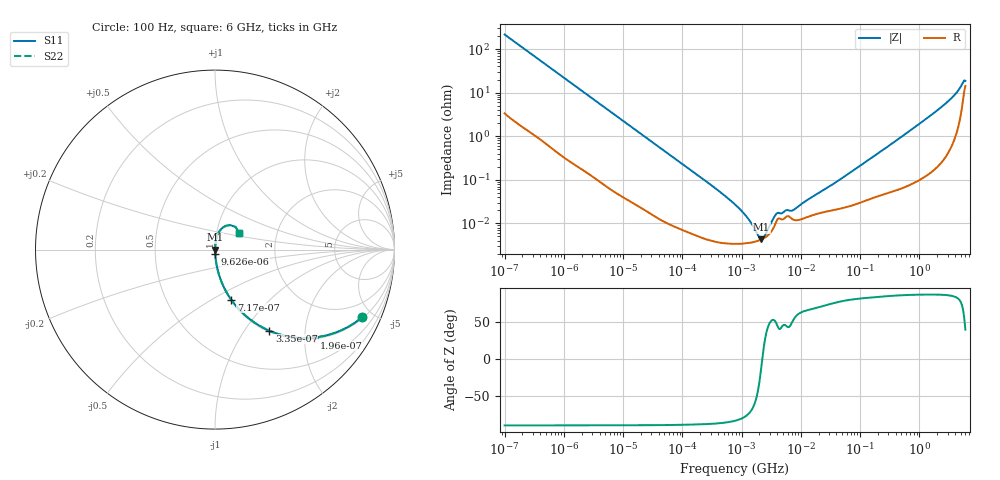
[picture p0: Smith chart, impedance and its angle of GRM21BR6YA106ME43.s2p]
!Murata Part Number: GRM21BR6YA106ME43
!These Parameters are Measured in Series Mode Connection
!Data Generated on Mar 30, 2021
!  o--ll--o
!Port1  Port2
!  o------o
!Operation Temp=25[degC], DC Bias Voltage=0[V]
!Freq. Start=100[Hz] Stop=6[GHz] 401[Steps]
# Hz S RI R 50
!Freq.(Hz) S11(Real) S11(Imag) S21(Real) S21(Imag) S12(Real) S12(Imag) S22(Real) S22(Imag)
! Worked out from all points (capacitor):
!   401 points, 100 Hz to 6 GHz, reference 50 ohm
!   read as one part in series: C = 7.33 uF near 109 Hz
!   lowest |Z| = 4.32 mohm at 2.169 MHz (marker M1)
!   series resonance near 2.234 MHz, so ESL is about 690 pH
!   S11 on the Smith chart (normalised r, x): 100 Hz: 1.07, -4.33; 196 Hz: 1.03, -2.23; 335 Hz: 1.02, -1.31; 717 Hz: 1.01, -0.62; 9.626 kHz: 1.00, -0.05; 6 GHz: 1.28, +0.24
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100  0.8206 -0.3761  0.1794 0.3761  0.1794 0.3761  0.8206 -0.3761
196  0.5524 -0.4899  0.4476 0.4899  0.4476 0.4899  0.5524 -0.4899
335  0.3021 -0.4516  0.6979 0.4516  0.6979 0.4516  0.3021 -0.4516
479  0.1774 -0.3745  0.8226 0.3745  0.8226 0.3745  0.1774 -0.3745
717  0.0899 -0.2787  0.9101 0.2787  0.9101 0.2787  0.0899 -0.2787
2008  0.0138 -0.1091  0.9862 0.1091  0.9862 0.1091  0.0138 -0.1091
9626  0.000958 -0.0234  0.999 0.0234  0.999 0.0234  0.000958 -0.0234
40335  0.000158 -0.00569  0.9998 0.00569  0.9998 0.00569  0.000158 -0.00569
316350  3.98e-05 -0.000729  1 0.000729  1 0.000729  3.98e-05 -0.000729
774597  3.38e-05 -0.000269  1 0.000269  1 0.000269  3.38e-05 -0.000269
1449809  3.61e-05 -9.55e-05  1 9.55e-05  1 9.55e-05  3.61e-05 -9.55e-05
2169299  4.27e-05 -6.4e-06  1 6.4e-06  1 6.4e-06  4.27e-05 -6.4e-06
2967816  5.77e-05 6.54e-05  0.9999 -6.54e-05  0.9999 -6.54e-05  5.77e-05 6.54e-05
4060267  0.000124 0.000122  0.9999 -0.000122  0.9999 -0.000122  0.000124 0.000122
7599586  0.00012 0.000165  0.9999 -0.000165  0.9999 -0.000165  0.00012 0.000165
1.555665e7  0.000152 0.000374  0.9998 -0.000374  0.9998 -0.000374  0.000152 0.000374
4.35672e7  0.000214 0.000945  0.9998 -0.000945  0.9998 -0.000945  0.000214 0.000945
3.124326e8  0.000544 0.00611  0.9995 -0.00611  0.9995 -0.00611  0.000544 0.00611
2.450438e9  0.00497 0.0483  0.995 -0.0483  0.995 -0.0483  0.00497 0.0483
4.385646e9  0.0237 0.1004  0.9763 -0.1004  0.9763 -0.1004  0.0237 0.1004
5.245841e9  0.0617 0.1329  0.9383 -0.1329  0.9383 -0.1329  0.0617 0.1329
6e9  0.1341 0.0903  0.8659 -0.0903  0.8659 -0.0903  0.1341 0.0903
